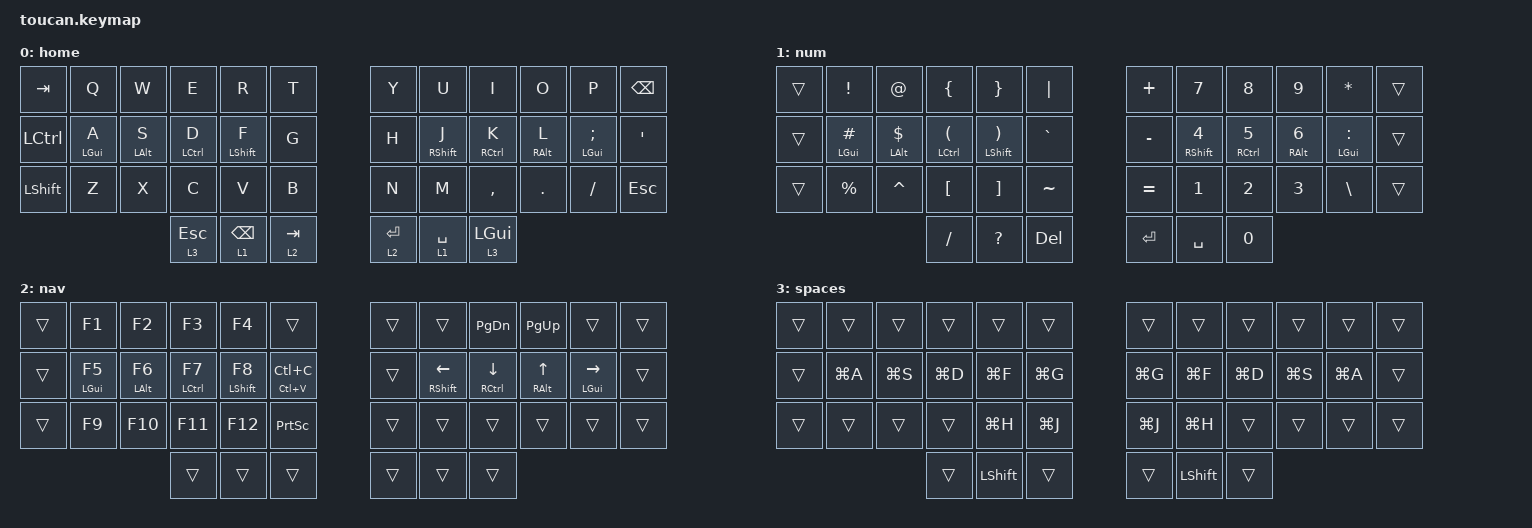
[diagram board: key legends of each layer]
/*
 * Copyright (c) 2020 The ZMK Contributors
 *
 * SPDX-License-Identifier: MIT
 */

#include <behaviors.dtsi>
#include <dt-bindings/zmk/bt.h>
#include <dt-bindings/zmk/keys.h>

/ {
    behaviors {
        hm: homerow_mods {
            compatible = "zmk,behavior-hold-tap";
            label = "HOMEROW_MODS";
            bindings = <&kp>, <&kp>;

            #binding-cells = <2>;
            tapping-term-ms = <185>;
            flavor = "tap-preferred";
            quick-tap-ms = <185>;
        };
    };

    combos {
        compatible = "zmk,combos";

        // --- base-layer text combos. require-prior-idle-ms blocks misfires
        // during fast typing; layers = <0> keeps them off the other layers. ---
        caps {
            bindings = <&kp CAPS>;
            key-positions = <16 19>;   // F + J (index home keys)
            layers = <0>;
            require-prior-idle-ms = <125>;
        };

        under {
            bindings = <&kp UNDER>;
            key-positions = <28 31>;   // V + M
            layers = <0>;
            require-prior-idle-ms = <125>;
        };

        dash {
            bindings = <&kp MINUS>;
            key-positions = <4 7>;     // R + U
            layers = <0>;
            require-prior-idle-ms = <125>;
        };

        // jk -> Esc (vim muscle memory).
        jk_esc {
            bindings = <&kp ESCAPE>;
            key-positions = <19 20>;   // J + K
            layers = <0>;
            require-prior-idle-ms = <125>;
        };

        // Left-hand cut/copy/paste (ported from the Corne): ring+middle finger
        // pairs across the three rows. Valuable here because the right half is the
        // Cirque trackpad — edit one-handed with the left while the right points.
        cut {
            bindings = <&kp LC(X)>;
            key-positions = <2 3>;     // W + E (top)
            layers = <0>;
            require-prior-idle-ms = <125>;
        };

        copy {
            bindings = <&kp LC(C)>;
            key-positions = <14 15>;   // S + D (home)
            layers = <0>;
            require-prior-idle-ms = <125>;
        };

        paste {
            bindings = <&kp LC(V)>;
            key-positions = <26 27>;   // X + C (bottom)
            layers = <0>;
            require-prior-idle-ms = <125>;
        };

        // ? on the two outer thumbs — far apart, never fires by accident.
        qmark {
            bindings = <&kp QUESTION>;
            key-positions = <36 41>;   // ESC thumb + GUI thumb
            layers = <0>;
            require-prior-idle-ms = <125>;
        };

        // --- Bluetooth controls: GATED behind deliberate cross-keyboard combos on
        // the spaces layer (hold an outer GUI/ESC thumb to reach it). These used to
        // be LONE keys on the nav thumbs (&bt BT_CLR / &bt BT_NXT) right where you
        // hold to navigate + point — a stray tap wiped the bond / switched profile.
        // Now a single tap can never touch BT. ---
        bt_clear {
            bindings = <&bt BT_CLR>;
            key-positions = <25 34>;   // Z + /  (bottom-row outer mirror)
            layers = <3>;
            require-prior-idle-ms = <150>;
            timeout-ms = <75>;
        };

        bt_next {
            bindings = <&bt BT_NXT>;
            key-positions = <1 10>;    // Q + P  (top-row outer mirror)
            layers = <3>;
            require-prior-idle-ms = <150>;
            timeout-ms = <75>;
        };

        // ZMK Studio unlock — lets the Studio app make LIVE keymap edits over USB
        // (the left build enables Studio). No-op when Studio isn't connected.
        studio {
            bindings = <&studio_unlock>;
            key-positions = <29 30>;   // B + N (the two inner bottom keys)
            layers = <3>;
            require-prior-idle-ms = <150>;
            timeout-ms = <75>;
        };
    };

    keymap {
        compatible = "zmk,keymap";

        home {
            // -----------------------------------------------------------------------------------------
            // |  TAB |  Q  |  W  |  E  |  R  |  T  |   |  Y  |  U   |  I  |  O  |  P  | BKSP |
            // | CTRL |  A  |  S  |  D  |  F  |  G  |   |  H  |  J   |  K  |  L  |  ;  |  '   |
            // | SHFT |  Z  |  X  |  C  |  V  |  B  |   |  N  |  M   |  ,  |  .  |  /  | ESC  |
            //                    | GUI | LWR | SPC |   | ENT | RSE  | ALT |

            bindings = <
&kp TAB    &kp Q            &kp W                &kp E                    &kp R                  &kp T        &kp Y        &kp U              &kp I             &kp O                 &kp P                    &kp BSPC
&kp LCTRL  &hm LGUI A  &hm LALT S  &hm LCTRL D  &hm LSHIFT F  &kp G        &kp H        &hm RSHIFT J  &hm RCTRL K  &hm RALT L  &hm LGUI SEMICOLON  &kp SQT
&kp LSHFT  &kp Z            &kp X                &kp C                    &kp V                  &kp B        &kp N        &kp M              &kp COMMA         &kp PERIOD            &kp SLASH                &kp ESC
                                             &lt 3 ESCAPE             &lt 1 BACKSPACE        &lt 2 TAB    &lt 2 ENTER  &lt 1 SPACE        &lt 3 LGUI
            >;

            label = "home";
        };

        num {
            // -----------------------------------------------------------------------------------------
            // |  TAB |  !  |  @  |  #  |  $  |  %  |   |  ^  |  &  |  *  |  (  |  )  | BKSP |
            // | CTRL |     |     |     |     |     |   |  -  |  =  |  [  |  ]  |  \  |  `   |
            // | SHFT |     |     |     |     |     |   |  _  |  +  |  {  |  }  | "|" |  ~   |
            //                    | GUI |     | SPC |   | ENT |     | ALT |

            bindings = <
&trans  &kp EXCL            &kp AT               &kp LEFT_BRACE              &kp RIGHT_BRACE                   &kp PIPE     &kp PLUS   &kp NUMBER_7  &kp N8        &kp N9                    &kp ASTERISK   &trans
&trans  &hm LGUI HASH  &hm LALT DOLLAR  &hm LCTRL LEFT_PARENTHESIS  &hm LSHIFT RIGHT_PARENTHESIS  &kp GRAVE    &kp MINUS  &hm RSHIFT NUMBER_4  &hm RCTRL NUMBER_5  &hm RALT NUMBER_6  &hm LGUI COLON  &trans
&trans  &kp PERCENT         &kp CARET            &kp LEFT_BRACKET            &kp RIGHT_BRACKET                 &kp TILDE    &kp EQUAL  &kp NUMBER_1  &kp NUMBER_2  &kp NUMBER_3  &kp BACKSLASH  &trans
                                                &kp SLASH                   &kp QUESTION                      &kp DEL      &kp RET    &kp SPACE     &kp N0
            >;

            label = "num";
        };

        nav {
            bindings = <
&trans  &kp F1            &kp F2           &kp F3        &kp F4             &trans             &trans  &trans           &kp PG_DN       &kp PG_UP         &trans          &trans
&trans  &hm LGUI F5  &hm LALT F6  &hm LCTRL F7  &hm LSHIFT F8  &hm LC(V) LC(C)    &trans  &hm RSHIFT LEFT  &hm RCTRL DOWN  &hm RALT UP  &hm LGUI RIGHT  &trans
&trans  &kp F9            &kp F10          &kp F11       &kp F12            &kp PSCRN          &trans  &trans           &trans          &trans            &trans          &trans
                                           &trans        &trans             &trans             &trans  &trans     &trans
            >;

            label = "nav";
        };

        spaces {
            bindings = <
&trans  &trans     &trans     &trans     &trans          &trans       &trans     &trans     &trans     &trans     &trans     &trans
&trans  &kp LG(A)  &kp LG(S)  &kp LG(D)  &kp LG(F)       &kp LG(G)    &kp LG(G)  &kp LG(F)  &kp LG(D)  &kp LG(S)  &kp LG(A)  &trans
&trans  &trans     &trans     &trans     &kp LG(H)       &kp LG(J)    &kp LG(J)  &kp LG(H)  &trans     &trans     &trans     &trans
                              &trans     &kp LSHIFT      &trans       &trans     &kp LSHIFT &trans
            >;
        };
    };
};
